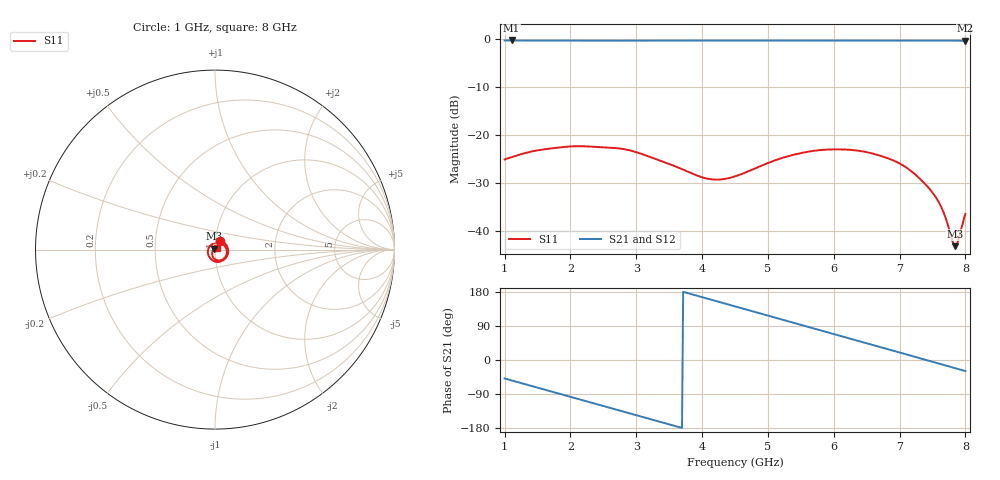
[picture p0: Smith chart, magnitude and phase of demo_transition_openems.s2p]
! kicad2openems openEMS FDTD (demo_transition)
! ports: 1=P1, 2=P2
# Hz S RI R 50
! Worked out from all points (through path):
!   401 points, 1 GHz to 8 GHz, reference 50 ohm
!   highest |S21| = -0.31 dB at 1.105 GHz (marker M1); lowest = -0.4 dB at 8 GHz (marker M2)
!   group delay of S21, straight-line fit = 135 ps
!   lowest |S11| = -43.2 dB at 7.843 GHz (marker M3), VSWR 1.01, Z = 49.6 + j0.519 ohm
!   |S11| at or under -10 dB: start of sweep to end of sweep
!   |S22| runs from - to - dB; largest |S21 - S12| = 0
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1e9  0.0276 0.048  0.6364 -0.725  0.6364 -0.725  0 0
1.105e9  0.0365 0.0456  0.5694 -0.7787  0.5694 -0.7787  0 0
1.6475e9  0.0705 0.0103  0.1646 -0.948  0.1646 -0.948  0 0
2.1725e9  0.0659 -0.038  -0.2578 -0.9253  -0.2578 -0.9253  0 0
2.6975e9  0.0278 -0.0671  -0.6302 -0.7238  -0.6302 -0.7238  0 0
3.0475e9  -0.00704 -0.064  -0.8123 -0.5112  -0.8123 -0.5112  0 0
3.345e9  -0.0277 -0.0468  -0.9167 -0.2929  -0.9167 -0.2929  0 0
3.6425e9  -0.039 -0.0233  -0.961 -0.0544  -0.961 -0.0544  0 0
3.9225e9  -0.0376 0.00164  -0.9476 0.1737  -0.9476 0.1737  0 0
4.2025e9  -0.0254 0.0228  -0.8799 0.3925  -0.8799 0.3925  0 0
4.5e9  -0.00319 0.0367  -0.7537 0.6002  -0.7537 0.6002  0 0
5.1125e9  0.0473 0.0266  -0.3548 0.8947  -0.3548 0.8947  0 0
5.6725e9  0.066 -0.0155  0.0938 0.9567  0.0938 0.9567  0 0
6.2325e9  0.0453 -0.0532  0.5204 0.8076  0.5204 0.8076  0 0
6.845e9  0.00322 -0.056  0.8536 0.4426  0.8536 0.4426  0 0
7.1775e9  -0.0127 -0.0398  0.944 0.1861  0.944 0.1861  0 0
7.4925e9  -0.0155 -0.02  0.9603 -0.0709  0.9603 -0.0709  0 0
7.65e9  -0.0139 -0.00914  0.9425 -0.2007  0.9425 -0.2007  0 0
7.8075e9  -0.00705 0.0029  0.9044 -0.3268  0.9044 -0.3268  0 0
7.8425e9  -0.00448 0.00524  0.8933 -0.3536  0.8933 -0.3536  0 0
7.8775e9  -0.00158 0.00726  0.8814 -0.3799  0.8814 -0.3799  0 0
8e9  0.0102 0.0109  0.8346 -0.4667  0.8346 -0.4667  0 0
